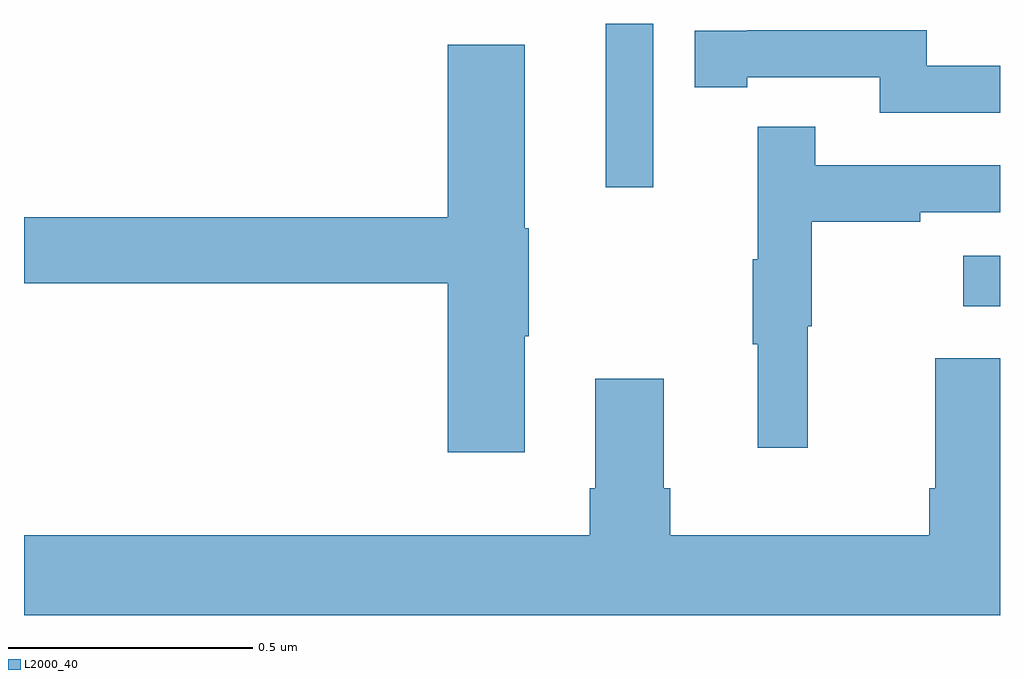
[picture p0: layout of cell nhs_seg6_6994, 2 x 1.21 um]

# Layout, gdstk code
import gdstk
lib = gdstk.Library(unit=1e-6, precision=1e-09)
def R(c, l, rs):  # rectangles x0, y0, x1, y1
    for r in rs: c.add(gdstk.rectangle(r[:2], r[2:], *l))
def P(c, l, *ps):  # polygons
    for p in ps: c.add(gdstk.Polygon(p, *l))
L2000_40 = (2000, 40)

nhs_seg6_6994 = lib.new_cell('nhs_seg6_6994')
R(nhs_seg6_6994, L2000_40, [(203.925,995.921,204,996.025), (203.192,996.165,203.289,996.5)])
P(nhs_seg6_6994, L2000_40, [(204,996.414),(203.85,996.414),(203.85,996.487),(203.482,996.487),(203.482,996.486),(203.374,996.486),(203.374,996.37),(203.482,996.37),(203.482,996.39),(203.754,996.39),(203.754,996.318),(204,996.318)],
  [(203.026,995.86),(203.034,995.86),(203.034,996.081),(203.026,996.081),(203.026,996.457),(202.868,996.457),(202.868,996.104),(202,996.104),(202,995.968),(202.868,995.968),(202.868,995.622),(203.026,995.622)],
  [(203.606,995.88),(203.614,995.88),(203.614,996.094),(203.837,996.094),(203.837,996.114),(204,996.114),(204,996.21),(203.621,996.21),(203.621,996.289),(203.504,996.289),(203.504,996.017),(203.493,996.017),(203.493,995.843),(203.504,995.843),(203.504,995.631),(203.606,995.631)],
  [(204,995.815),(203.867,995.815),(203.867,995.548),(203.855,995.548),(203.855,995.452),(203.324,995.452),(203.324,995.548),(203.311,995.548),(203.311,995.773),(203.171,995.773),(203.171,995.548),(203.159,995.548),(203.159,995.452),(202,995.452),(202,995.288),(204,995.288)])

lib.write_gds('nhs_seg6_6994.gds')
